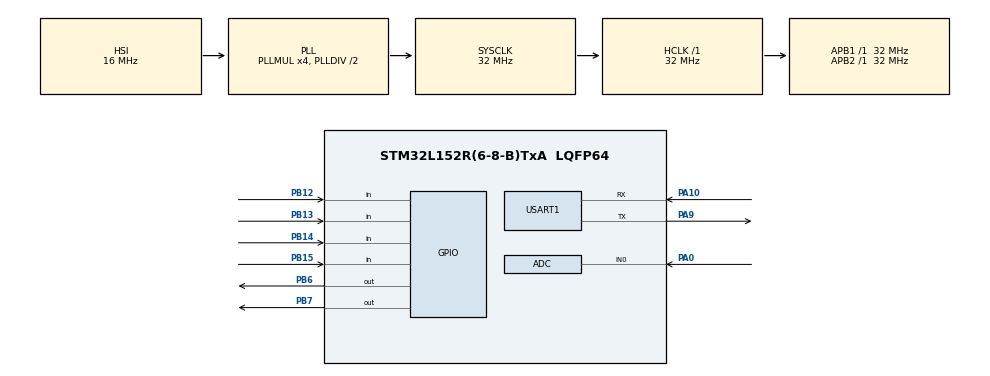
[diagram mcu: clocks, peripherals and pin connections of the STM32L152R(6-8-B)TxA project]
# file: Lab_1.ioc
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ADC.Channel-0\#ChannelRegularConversion=ADC_CHANNEL_0
ADC.ClockPrescaler=ADC_CLOCK_ASYNC_DIV4
ADC.NbrOfConversionFlag=1
ADC.Rank-0\#ChannelRegularConversion=1
ADC.SamplingTime-0\#ChannelRegularConversion=ADC_SAMPLETIME_4CYCLES
Mcu.Family=STM32L1
Mcu.Name=STM32L152R(6-8-B)TxA
Mcu.Package=LQFP64
NVIC.PriorityGroup=NVIC_PRIORITYGROUP_4
PA0-WKUP1.Mode=IN0
PA0-WKUP1.Signal=ADC_IN0
PA10.Mode=Asynchronous
PA10.Signal=USART1_RX
PA13.Mode=Serial_Wire
PA13.Signal=SYS_JTMS-SWDIO
PA14.Mode=Serial_Wire
PA14.Signal=SYS_JTCK-SWCLK
PA9.Mode=Asynchronous
PA9.Signal=USART1_TX
PB12.GPIO_PuPd=GPIO_PULLUP
PB12.Signal=GPIO_Input
PB13.GPIO_PuPd=GPIO_PULLUP
PB13.Signal=GPIO_Input
PB14.GPIO_PuPd=GPIO_PULLUP
PB14.Signal=GPIO_Input
PB15.GPIO_PuPd=GPIO_PULLUP
PB15.Signal=GPIO_Input
PB6.Signal=GPIO_Output
PB7.Signal=GPIO_Output
ProjectManager.HeapSize=0x200
ProjectManager.StackSize=0x400
ProjectManager.TargetToolchain=Makefile
RCC.48MHZClocksFreq_Value=32000000
RCC.AHBFreq_Value=32000000
RCC.APB1Freq_Value=32000000
RCC.APB1TimFreq_Value=32000000
RCC.APB2Freq_Value=32000000
RCC.APB2TimFreq_Value=32000000
RCC.HCLKFreq_Value=32000000
RCC.HSE_VALUE=24000000
RCC.HSI_VALUE=16000000
RCC.LSE_VALUE=32768
RCC.MSI_VALUE=2097000
RCC.PLLMUL=RCC_PLL_MUL4
RCC.SYSCLKFreq_VALUE=32000000
RCC.SYSCLKSource=RCC_SYSCLKSOURCE_PLLCLK
RCC.VCOOutputFreq_Value=64000000
USART1.VirtualMode=VM_ASYNC
board=custom

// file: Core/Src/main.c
/* USER CODE BEGIN Header */
/**
  ******************************************************************************
  * @file           : main.c
  * @brief          : Main program body
  ******************************************************************************
  * @attention
  *
  * Copyright (c) 2024 STMicroelectronics.
  * All rights reserved.
  *
  * This software is licensed under terms that can be found in the LICENSE file
  * in the root directory of this software component.
  * If no LICENSE file comes with this software, it is provided AS-IS.
  *
  ******************************************************************************
  */
/* USER CODE END Header */
#include "main.h"
#include "adc.h"
#include "usart.h"
#include "gpio.h"
#include "stm32l1xx_hal_usart.h"
#include <string.h>

void SystemClock_Config(void);

/* USER CODE BEGIN 0 */
uint8_t buttons[4] = {0};

uint8_t check_code()
{
if (HAL_GPIO_ReadPin(GPIOB, GPIO_PIN_12) == GPIO_PIN_RESET)
{
  HAL_Delay(10);
  buttons[0] = 1;
  return 0;
}
else if (HAL_GPIO_ReadPin(GPIOB, GPIO_PIN_13) == GPIO_PIN_RESET)
{
  HAL_Delay(10);
  if((buttons[0] == 1) && (buttons[2] == 0) && (buttons[3] == 0))
    buttons[1] = 1;
  else
  {
  buttons[0] = 0;
  buttons[1] = 0;
  buttons[2] = 0;
  buttons[3] = 0;
  }
  return 0;
}
else if (HAL_GPIO_ReadPin(GPIOB, GPIO_PIN_14) == GPIO_PIN_RESET)
{
  HAL_Delay(10);
  if((buttons[0] == 1) && (buttons[1] == 1) && (buttons[3] == 0))
    buttons[2] = 1;
  else
  {
  buttons[0] = 0;
  buttons[1] = 0;
  buttons[2] = 0;
  buttons[3] = 0;
  }
  return 0;
}
else if (HAL_GPIO_ReadPin(GPIOB, GPIO_PIN_15) == GPIO_PIN_RESET)
{
  HAL_Delay(10);
  if((buttons[0] == 1) && (buttons[1] == 1) && (buttons[2] == 1))
  {
    buttons[0] = 0;
    buttons[1] = 0;
    buttons[2] = 0;
    buttons[3] = 0;
    return 1;
  }
  else
  {
    buttons[0] = 0;
    buttons[1] = 0;
    buttons[2] = 0;
    buttons[3] = 0;
  }
  return 0;
}
else
{
  return 0;
}

}
/* USER CODE END 0 */

int main(void)
{

  /* MCU Configuration--------------------------------------------------------*/

  /* Reset of all peripherals, Initializes the Flash interface and the Systick. */
  HAL_Init();

  /* Configure the system clock */
  SystemClock_Config();

  /* Initialize all configured peripherals */
  MX_GPIO_Init();
  MX_ADC_Init();
  MX_USART1_UART_Init();
  /* USER CODE BEGIN 2 */
  uint8_t str[32];
HAL_UART_Transmit(&huart1,"\nSTM32 ADC example\n", strlen("\nSTM32 ADC example\n"), 1000);
  /* USER CODE END 2 */

  /* Infinite loop */
  /* USER CODE BEGIN WHILE */
  while (1)
  {
    if (check_code())
    {
      HAL_GPIO_WritePin(GPIOB, GPIO_PIN_6, GPIO_PIN_SET);
      HAL_GPIO_WritePin(GPIOB, GPIO_PIN_7, GPIO_PIN_SET);

      for (uint8_t i = 0; i < 100; i++)
      {
        HAL_GPIO_WritePin(GPIOB, GPIO_PIN_7, GPIO_PIN_SET);
        HAL_Delay(50);
        HAL_GPIO_WritePin(GPIOB, GPIO_PIN_7, GPIO_PIN_RESET);
        HAL_Delay(50);
      }
      HAL_GPIO_WritePin(GPIOB, GPIO_PIN_6, GPIO_PIN_RESET);

      HAL_ADC_Start(&hadc); // start the adc
      HAL_ADC_PollForConversion(&hadc, 100); // poll for conversion
      uint32_t adc_val = HAL_ADC_GetValue(&hadc); // get the adc value
      HAL_ADC_Stop(&hadc); // stop adc

      sprintf(str, "ADC value: %d\n", adc_val);
      HAL_UART_Transmit(&huart1, str, strlen(str), 1000);
      HAL_GPIO_WritePin(GPIOB, GPIO_PIN_7, GPIO_PIN_SET);
    }
    /* USER CODE END WHILE */

  }
}

void SystemClock_Config(void)
{
  RCC_OscInitTypeDef RCC_OscInitStruct = {0};
  RCC_ClkInitTypeDef RCC_ClkInitStruct = {0};

  /** Configure the main internal regulator output voltage
  */
  __HAL_PWR_VOLTAGESCALING_CONFIG(PWR_REGULATOR_VOLTAGE_SCALE1);

  /** Initializes the RCC Oscillators according to the specified parameters
  * in the RCC_OscInitTypeDef structure.
  */
  RCC_OscInitStruct.OscillatorType = RCC_OSCILLATORTYPE_HSI;
  RCC_OscInitStruct.HSIState = RCC_HSI_ON;
  RCC_OscInitStruct.HSICalibrationValue = RCC_HSICALIBRATION_DEFAULT;
  RCC_OscInitStruct.PLL.PLLState = RCC_PLL_ON;
  RCC_OscInitStruct.PLL.PLLSource = RCC_PLLSOURCE_HSI;
  RCC_OscInitStruct.PLL.PLLMUL = RCC_PLL_MUL4;
  RCC_OscInitStruct.PLL.PLLDIV = RCC_PLL_DIV2;
  if (HAL_RCC_OscConfig(&RCC_OscInitStruct) != HAL_OK)
  {
    Error_Handler();
  }

  /** Initializes the CPU, AHB and APB buses clocks
  */
  RCC_ClkInitStruct.ClockType = RCC_CLOCKTYPE_HCLK|RCC_CLOCKTYPE_SYSCLK
                              |RCC_CLOCKTYPE_PCLK1|RCC_CLOCKTYPE_PCLK2;
  RCC_ClkInitStruct.SYSCLKSource = RCC_SYSCLKSOURCE_PLLCLK;
  RCC_ClkInitStruct.AHBCLKDivider = RCC_SYSCLK_DIV1;
  RCC_ClkInitStruct.APB1CLKDivider = RCC_HCLK_DIV1;
  RCC_ClkInitStruct.APB2CLKDivider = RCC_HCLK_DIV1;

  if (HAL_RCC_ClockConfig(&RCC_ClkInitStruct, FLASH_LATENCY_1) != HAL_OK)
  {
    Error_Handler();
  }
}

void Error_Handler(void)
{
  __disable_irq();
  while (1)
  {
  }
}
